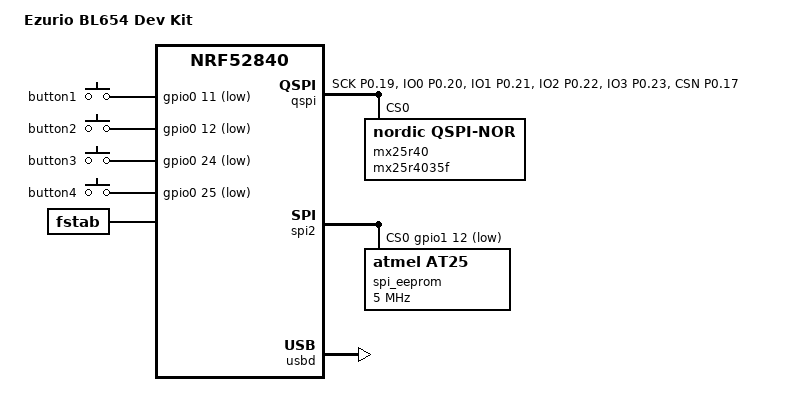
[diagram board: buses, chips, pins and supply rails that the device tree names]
/*
 * Copyright (c) 2019 Laird Connectivity
 * Copyright (c) 2023 Nordic Semiconductor ASA
 * Copyright (c) 2024 Ezurio
 *
 * SPDX-License-Identifier: Apache-2.0
 */

/dts-v1/;
#include <nordic/nrf52840_qiaa.dtsi>
#include <nordic/nrf52840_partition.dtsi>
#include "bl654_dvk-pinctrl.dtsi"
#include <zephyr/dt-bindings/input/input-event-codes.h>

/delete-node/ &boot_partition;
/delete-node/ &slot0_partition;
/delete-node/ &slot1_partition;
/delete-node/ &storage_partition;

/ {
	model = "Ezurio BL654 Dev Kit";
	compatible = "ezurio,bl654_dvk";

	chosen {
		zephyr,console = &cdc_acm_uart1;
		zephyr,shell-uart = &cdc_acm_uart1;
		zephyr,uart-mcumgr = &cdc_acm_uart1;
		zephyr,bt-mon-uart = &cdc_acm_uart1;
		zephyr,bt-c2h-uart = &cdc_acm_uart1;
	};

	buttons {
		button1: button_1 {
			gpios = <&gpio0 11 (GPIO_PULL_UP | GPIO_ACTIVE_LOW)>;
		};
		button2: button_2 {
			gpios = <&gpio0 12 (GPIO_PULL_UP | GPIO_ACTIVE_LOW)>;
		};
		button3: button_3 {
			gpios = <&gpio0 24 (GPIO_PULL_UP | GPIO_ACTIVE_LOW)>;
		};
		button4: button_4 {
			gpios = <&gpio0 25 (GPIO_PULL_UP | GPIO_ACTIVE_LOW)>;
		};
	};

	gpio_dynamic {
		compatible = "gpio-dynamic";
		led1 {
			gpios = <&gpio0 13 GPIO_ACTIVE_HIGH>;
			label = "LED1";
		};
		led2 {
			gpios = <&gpio0 14 GPIO_ACTIVE_HIGH>;
			label = "LED2";
		};
		led3 {
			gpios = <&gpio0 15 GPIO_ACTIVE_HIGH>;
			label = "LED3";
		};
		led4 {
			gpios = <&gpio0 16 GPIO_ACTIVE_HIGH>;
			label = "LED4";
		};
		button1 {
			gpios = <&gpio0 11 GPIO_PULL_UP>;
			label = "BUTTON1";
		};
		button2 {
			gpios = <&gpio0 12 GPIO_PULL_UP>;
			label = "BUTTON2";
		};
		button3 {
			gpios = <&gpio0 24 GPIO_PULL_UP>;
			label = "BUTTON3";
		};
		button4 {
			gpios = <&gpio0 25 GPIO_PULL_UP>;
			label = "BUTTON4";
		};
		ain0 {
			gpios = <&gpio0 2 0>;
			label = "SIO_02,AIN0";
		};
		ain1 {
			gpios = <&gpio0 3 0>;
			label = "SIO_03,AIN1,TEMP_SENS";
		};
		ain4 {
			gpios = <&gpio0 28 0>;
			label = "SIO_28,AIN4";
		};
		ain5 {
			gpios = <&gpio0 29 0>;
			label = "SIO_29,AIN5";
		};
		ain6 {
			gpios = <&gpio0 30 0>;
			label = "SIO_30,AIN6";
		};
		ain7 {
			gpios = <&gpio0 31 0>;
			label = "SIO_31,AIN7";
		};
	};

	fstab {
		compatible = "zephyr,fstab";
		lfs1: lfs1 {
			compatible = "zephyr,fstab,littlefs";
			mount-point = "/lfs1";
			partition = <&littlefs_storage>;
			automount;
			read-size = <16>;
			prog-size = <16>;
			cache-size = <64>;
			lookahead-size = <32>;
			block-cycles = <512>;
		};
	};
};

&flash0 {
	partitions {
		compatible = "fixed-partitions";
		#address-cells = <1>;
		#size-cells = <1>;

		boot_partition: partition@0 {
			label = "mcuboot";
			reg = <0x00000000 0x08000>;
		};

		slot0_partition: partition@8200 {
			label = "image-0";
			reg = <0x00008200 0x73E00>;
		};

		slot1_partition: partition@7C000 {
			label = "image-1";
			reg = <0x0007C000 0x74000>;
		};

		littlefs_storage: partition@F0000 {
			label = "littlefs_storage";
			reg = <0x000F0000 0x00010000>;
		};
	};
};

&pinctrl {
	qspi_default: qspi_default {
		group1 {
			psels = <NRF_PSEL(QSPI_SCK, 0, 19)>,
			        <NRF_PSEL(QSPI_IO0, 0, 20)>,
			        <NRF_PSEL(QSPI_IO1, 0, 21)>,
			        <NRF_PSEL(QSPI_IO2, 0, 22)>,
			        <NRF_PSEL(QSPI_IO3, 0, 23)>,
			        <NRF_PSEL(QSPI_CSN, 0, 17)>;
		};
	};

	qspi_sleep: qspi_sleep {
		group1 {
			psels = <NRF_PSEL(QSPI_SCK, 0, 19)>,
			        <NRF_PSEL(QSPI_IO0, 0, 20)>,
			        <NRF_PSEL(QSPI_IO1, 0, 21)>,
			        <NRF_PSEL(QSPI_IO2, 0, 22)>,
			        <NRF_PSEL(QSPI_IO3, 0, 23)>,
			        <NRF_PSEL(QSPI_CSN, 0, 17)>;
			low-power-enable;
		};
	};

	spi2_default: spi2_default {
		group1 {
			psels = <NRF_PSEL(SPIM_SCK, 1, 9)>,
				<NRF_PSEL(SPIM_MOSI, 1, 8)>,
				<NRF_PSEL(SPIM_MISO, 0, 4)>;
		};
	};

	spi2_sleep: spi2_sleep {
		group1 {
			psels = <NRF_PSEL(SPIM_SCK, 1, 9)>,
				<NRF_PSEL(SPIM_MOSI, 1, 8)>,
				<NRF_PSEL(SPIM_MISO, 0, 4)>;
			low-power-enable;
		};
	};

	uart1_default: uart1_default {
		group1 {
			psels = <NRF_PSEL(UART_TX, 1, 1)>,
					<NRF_PSEL(UART_RTS, 1, 4)>;
		};
		group2 {
			psels = <NRF_PSEL(UART_RX, 1, 2)>,
					<NRF_PSEL(UART_CTS, 1, 5)>;
			bias-pull-up;
		};
	};

	uart1_sleep: uart1_sleep {
		group1 {
			psels = <NRF_PSEL(UART_TX, 1, 1)>,
					<NRF_PSEL(UART_RTS, 1, 4)>;
			low-power-enable;
		};
		group2 {
			psels = <NRF_PSEL(UART_RX, 1, 2)>,
					<NRF_PSEL(UART_CTS, 1, 5)>;
			bias-pull-up;
			low-power-enable;
		};
	};
};

&qspi {
	pinctrl-0 = <&qspi_default>;
	pinctrl-1 = <&qspi_sleep>;
	pinctrl-names = "default", "sleep";
	mx25r40: mx25r4035f@0 {
		compatible = "nordic,qspi-nor";
		reg = <0>;
		writeoc = "pp4io";
		readoc = "read4io";
		sck-frequency = <16000000>;
		jedec-id = [ c2 28 13  ];
		size = <4194304>;
		has-dpd;
		t-enter-dpd = <30000>;
		t-exit-dpd = <35000>;
	};
};

&spi2 {
	compatible = "nordic,nrf-spi";
	status = "okay";
	cs-gpios = <&gpio1 12 GPIO_ACTIVE_LOW>;
	pinctrl-0 = <&spi1_default>;
	pinctrl-1 = <&spi1_sleep>;
	pinctrl-names = "default", "sleep";
	spi_eeprom: spi_eeprom@0 {
		compatible = "atmel,at25";
		reg = <0x0>;
		spi-max-frequency = <5000000>;
		size = <32768>;
		pagesize = <64>;
		address-width = <16>;
		timeout = <5>;
	};
};

&uart0 {
	compatible = "nordic,nrf-uart";
};

&uart1 {
	compatible = "nordic,nrf-uarte";
	status = "disabled";
	current-speed = <115200>;
	pinctrl-0 = <&uart1_default>;
	pinctrl-1 = <&uart1_sleep>;
	pinctrl-names = "default", "sleep";
};

zephyr_udc0: &usbd {
	compatible = "nordic,nrf-usbd";
	status = "okay";

	cdc_acm_uart0: cdc_acm_uart0 {
		compatible = "zephyr,cdc-acm-uart";
	};

	cdc_acm_uart1: cdc_acm_uart1 {
		compatible = "zephyr,cdc-acm-uart";
	};
};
